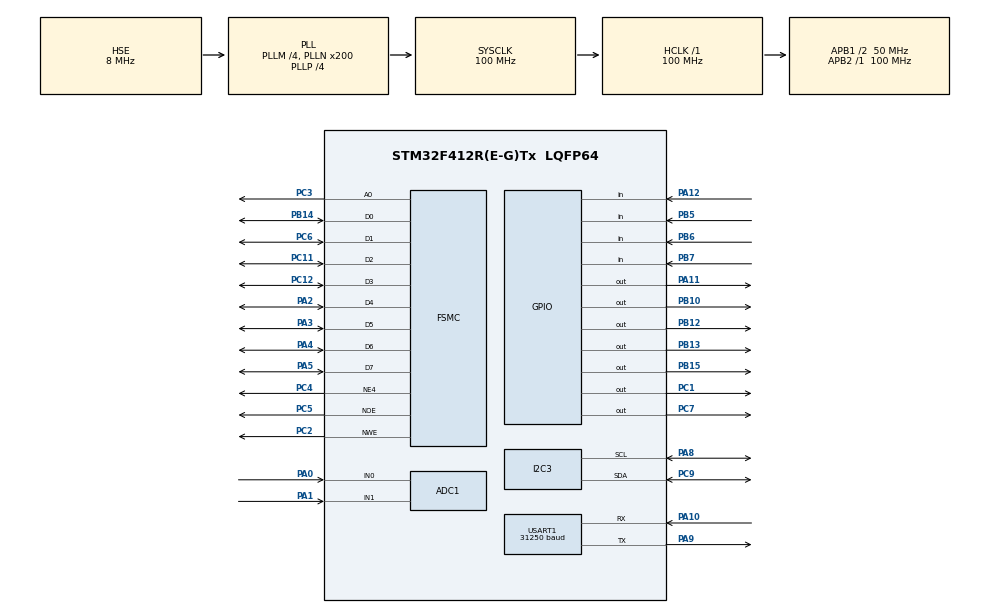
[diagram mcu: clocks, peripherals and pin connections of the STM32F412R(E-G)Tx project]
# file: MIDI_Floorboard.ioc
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Mcu.Family=STM32F4
PC3.Mode=A0_1
RCC.CortexFreq_Value=100000000
ADC1.ContinuousConvMode=ENABLE
USART1.BaudRate=31250
ADC1.SamplingTime-6\#ChannelRegularConversion=ADC_SAMPLETIME_3CYCLES
PC12.Signal=FSMC_D3
VP_IWDG_VS_IWDG.Mode=IWDG_Activate
PC5.Mode=Lcd1
PB13.Signal=GPIO_Output
PB15.Signal=GPIO_Output
RCC.SYSCLKSource=RCC_SYSCLKSOURCE_PLLCLK
ProjectManager.StackSize=0x400
PA12.Signal=GPIO_Input
PH0\ -\ OSC_IN.Signal=RCC_OSC_IN
ADC1.Channel-5\#ChannelRegularConversion=ADC_CHANNEL_0
PA4.Mode=8b-d1
RCC.HCLKFreq_Value=100000000
RCC.APB2TimFreq_Value=100000000
PB6.Signal=GPIO_Input
Dma.ADC1.0.Direction=DMA_PERIPH_TO_MEMORY
PC7.Signal=GPIO_Output
PC3.Signal=FSMC_A0
NVIC.DMA2_Stream0_IRQn=true\:0\:0\:false\:false\:true\:false\:true
Dma.ADC1.0.MemDataAlignment=DMA_MDATAALIGN_HALFWORD
RCC.AHBFreq_Value=100000000
RCC.HSE_VALUE=8000000
NVIC.I2C3_EV_IRQn=true\:0\:0\:false\:false\:true\:true\:true
ADC1.Channel-6\#ChannelRegularConversion=ADC_CHANNEL_1
PA14.Mode=Serial_Wire
PB14.Mode=8b-d1
Dma.ADC1.0.PeriphInc=DMA_PINC_DISABLE
PC9.Mode=I2C
PB7.Signal=GPIO_Input
PA8.Signal=I2C3_SCL
PA0.Signal=SharedAnalog_PA0
Mcu.Package=LQFP64
PA10.Signal=USART1_RX
PC11.Mode=8b-d1
RCC.APB1TimFreq_Value=100000000
Dma.ADC1.0.FIFOMode=DMA_FIFOMODE_DISABLE
PC5.Signal=FSMC_NOE
NVIC.USART1_IRQn=true\:0\:0\:false\:false\:true\:true\:true
ADC1.Rank-6\#ChannelRegularConversion=2
Dma.Request0=ADC1
ADC1.EOCSelection=ADC_EOC_SEQ_CONV
PC4.Mode=NorPsramChipSelect4_1
PA3.Signal=FSMC_D5
PA5.Mode=8b-d1
RCC.PLLSourceVirtual=RCC_PLLSOURCE_HSE
Dma.ADC1.0.Instance=DMA2_Stream0
TIM3.Channel-Output\ Compare1\ No\ Output=TIM_CHANNEL_1
PA10.Mode=Asynchronous
SH.SharedAnalog_PA0.0=GPIO_Analog
SH.SharedAnalog_PA0.1=ADC1_IN0,IN0
PC11.Signal=FSMC_D2
PH1\ -\ OSC_OUT.Mode=HSE-External-Oscillator
PC2.Signal=FSMC_NWE
PC4.Signal=FSMC_NE4
PC6.Signal=FSMC_D1
ADC1.DiscontinuousConvMode=DISABLE
PC2.Mode=Lcd1
RCC.APB1CLKDivider=RCC_HCLK_DIV2
PA13.Signal=SYS_JTMS-SWDIO
PA3.Mode=8b-d1
Dma.ADC1.0.PeriphDataAlignment=DMA_PDATAALIGN_HALFWORD
PA9.Mode=Asynchronous
PH0\ -\ OSC_IN.Mode=HSE-External-Oscillator
ProjectManager.TargetToolchain=Makefile
Dma.ADC1.0.Mode=DMA_CIRCULAR
PC6.Mode=8b-d1
Dma.ADC1.0.Priority=DMA_PRIORITY_LOW
PA9.Signal=USART1_TX
RCC.USBFreq_Value=200000000
PA1.Signal=SharedAnalog_PA1
PB10.Signal=GPIO_Output
PB14.Signal=FSMC_D0
PA5.Signal=FSMC_D7
PC12.Mode=8b-d1
PH1\ -\ OSC_OUT.Signal=RCC_OSC_OUT
board=custom
VP_TIM3_VS_no_output1.Mode=Output Compare1 No Output
RCC.VCOOutputFreq_Value=400000000
NVIC.TIM3_IRQn=true\:0\:0\:false\:false\:true\:true\:true
RCC.APB2Freq_Value=100000000
ADC1.DMAContinuousRequests=ENABLE
ADC1.NbrOfConversion=2
PA13.Mode=Serial_Wire
Mcu.Name=STM32F412R(E-G)Tx
PA2.Signal=FSMC_D4
PB3.Signal=SYS_JTDO-SWO
PA4.Signal=FSMC_D6
RCC.SYSCLKFreq_VALUE=100000000
PB5.Signal=GPIO_Input
ADC1.master=1
USART1.VirtualMode=VM_ASYNC
PA11.Signal=GPIO_Output
PA14.Signal=SYS_JTCK-SWCLK
Dma.ADC1.0.MemInc=DMA_MINC_ENABLE
ProjectManager.HeapSize=0x200
ADC1.SamplingTime-5\#ChannelRegularConversion=ADC_SAMPLETIME_3CYCLES
SH.SharedAnalog_PA1.1=ADC1_IN1,IN1
RCC.PLLP=RCC_PLLP_DIV4
NVIC.PriorityGroup=NVIC_PRIORITYGROUP_4
SH.SharedAnalog_PA1.0=GPIO_Analog
ADC1.NbrOfConversionFlag=1
RCC.PLLM=4
NVIC.I2C3_ER_IRQn=true\:0\:0\:false\:false\:true\:true\:true
RCC.PLLN=200
PA2.Mode=8b-d1
PA8.Mode=I2C
PC9.Signal=I2C3_SDA
RCC.APB1Freq_Value=50000000
ADC1.ClockPrescaler=ADC_CLOCK_SYNC_PCLK_DIV8
ADC1.Rank-5\#ChannelRegularConversion=1
PC1.Signal=GPIO_Output
PB12.Signal=GPIO_Output

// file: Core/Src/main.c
/* USER CODE BEGIN Header */
/**
  ******************************************************************************
  * @file           : main.c
  * @brief          : Main program body
  ******************************************************************************
  * @attention
  *
  * <h2><center>&copy; Copyright (c) 2021 STMicroelectronics.
  * All rights reserved.</center></h2>
  *
  * This software component is licensed by ST under BSD 3-Clause license,
  * the "License"; You may not use this file except in compliance with the
  * License. You may obtain a copy of the License at:
  *                        opensource.org/licenses/BSD-3-Clause
  *
  ******************************************************************************
  */
/* USER CODE END Header */
#include "main.h"
#include "ssd1309_fsmc.h"
#include "fonts.h"
#include <stdint.h>
#include <stdio.h>

/* USER CODE BEGIN PD */
#define UART_RX_BFR_SIZE 24
#define UART_TX_BFR_SIZE 16

#define UART_DMA_RX_BFR_SIZE 100

/* USER CODE END PD */

ADC_HandleTypeDef hadc1;
DMA_HandleTypeDef hdma_adc1;
DMA_HandleTypeDef hdma_usart1_rx;
DMA_HandleTypeDef hdma_usart1_tx;

I2C_HandleTypeDef hi2c3;

IWDG_HandleTypeDef hiwdg;

TIM_HandleTypeDef htim3;

UART_HandleTypeDef huart1;

SRAM_HandleTypeDef hsram1;

/* USER CODE BEGIN PV */
uint8_t receiveBuffer[32];
uint8_t transmitBuffer[32];
uint8_t midichannel;
volatile uint8_t tunerdata;

uint8_t RxRollover=0;
uint8_t RxCounter=0;
uint16_t RxBfrPos=0;
uint8_t TxCounter=0;
char TxBuffer[UART_TX_BFR_SIZE];
uint8_t RxBuffer[UART_RX_BFR_SIZE];
uint8_t DMA_RX_Buffer[UART_DMA_RX_BFR_SIZE];

/* USER CODE END PV */

void SystemClock_Config(void);
static void MX_GPIO_Init(void);
static void MX_DMA_Init(void);
static void MX_ADC1_Init(void);
static void MX_FSMC_Init(void);
static void MX_I2C3_Init(void);
static void MX_IWDG_Init(void);
static void MX_USART1_UART_Init(void);
static void MX_TIM3_Init(void);

/* USER CODE BEGIN 0 */

void HAL_UART_RxCpltCallback(UART_HandleTypeDef *huart);
//void HAL_UART_TxCpltCallback(UART_HandleTypeDef *huart);

/* USER CODE END 0 */

int main(void)
{
  /* USER CODE BEGIN 1 */
	uint16_t i;
	uint16_t j;
	uint8_t correct=0;
	uint8_t wrong=0;
	char c;
	uint8_t pitch;
  /* USER CODE END 1 */

  /* MCU Configuration--------------------------------------------------------*/

  /* Reset of all peripherals, Initializes the Flash interface and the Systick. */
  HAL_Init();

  /* Configure the system clock */
  SystemClock_Config();

  /* Initialize all configured peripherals */
  MX_GPIO_Init();
  MX_DMA_Init();
  MX_ADC1_Init();
  MX_FSMC_Init();
  MX_I2C3_Init();
 // MX_IWDG_Init();
  MX_USART1_UART_Init();
  MX_TIM3_Init();
  /* USER CODE BEGIN 2 */

  HAL_TIM_Base_Start_IT(&htim3);

  OLED_Init();
  tunerdata=0;
  __HAL_UART_ENABLE_IT(&huart1, UART_IT_IDLE);		// enable Uart Idle Line Interrupt
  __HAL_DMA_ENABLE_IT (&hdma_usart1_rx, DMA_IT_TC);  // enable DMA Tx cplt interrupt
  HAL_UART_Receive_DMA(&huart1, DMA_RX_Buffer, UART_DMA_RX_BFR_SIZE); // Start DMA Receive
  hdma_usart1_rx.Instance->CR &= ~DMA_SxCR_HTIE;     // disable uart half tx interrupt

  /* USER CODE END 2 */

  /* Infinite loop */
  /* USER CODE BEGIN WHILE */

  while (1)
  {
	  if(tunerdata==1)
	  {
		  i=0;
		  c=RxBuffer[i];
		  while((c!=0xF0) && (i<UART_RX_BFR_SIZE-12))
		  {
			  c=RxBuffer[i];
			  i++;
		  }
		  if(i>0)
			  i--;
		  if((RxBuffer[i]==0xF0)&&(RxBuffer[i+9]==0xF7))
		  {

			  ShowPitch(RxBuffer[i+7], 0, 80);

			  ShowFinePitch(RxBuffer[i+8]);

		  }
		  tunerdata=0;
	  }

	  if(i<65525)
	  {
		  i++;
	  }
	  else
	  {
		  if(j<255)
		  {

			  j++;
		  }
		  else
		  {

			  j=0;
		  }
		  i=0;
	  }
	  /* USER CODE END WHILE */

  }
}

void midisend(void)
{
	static uint8_t channel = 0;
	char string[5];
	int a,b,c,x;
	transmitBuffer[0]=0xC0;
	transmitBuffer[1]=channel;
	HAL_UART_Transmit_IT(&huart1, (uint8_t*)transmitBuffer, 2);						// send a response

	//HAL_UART_Transmit_IT(&huart1, transmitBuffer, 2,20);

	x=channel;
	a=x%10;
	x=x/10;
	b=x%10;
	x=x/10;
	c=x;
	string[4]=0;
	string[3]='\0';
	string[0]=c;
	string[1]=b;
	string[2]=a;

	Show_Numbers(3,&string,0,0);
	//Show_Font1523(1,1,1);

	if( channel <127)
	{
		channel++;//	Set_Display_On_Off(0xAF);		// Display On (0xAE/0xAF)
	}
	else
	{
		channel=0;
//		Set_Display_On_Off(0xAE);		// Display On (0xAE/0xAF)
	}

}

void SystemClock_Config(void)
{
  RCC_OscInitTypeDef RCC_OscInitStruct = {0};
  RCC_ClkInitTypeDef RCC_ClkInitStruct = {0};

  /** Configure the main internal regulator output voltage
  */
  __HAL_RCC_PWR_CLK_ENABLE();
  __HAL_PWR_VOLTAGESCALING_CONFIG(PWR_REGULATOR_VOLTAGE_SCALE1);
  /** Initializes the RCC Oscillators according to the specified parameters
  * in the RCC_OscInitTypeDef structure.
  */
  RCC_OscInitStruct.OscillatorType = RCC_OSCILLATORTYPE_LSI|RCC_OSCILLATORTYPE_HSE;
  RCC_OscInitStruct.HSEState = RCC_HSE_ON;
  RCC_OscInitStruct.LSIState = RCC_LSI_ON;
  RCC_OscInitStruct.PLL.PLLState = RCC_PLL_ON;
  RCC_OscInitStruct.PLL.PLLSource = RCC_PLLSOURCE_HSE;
  RCC_OscInitStruct.PLL.PLLM = 4;
  RCC_OscInitStruct.PLL.PLLN = 200;
  RCC_OscInitStruct.PLL.PLLP = RCC_PLLP_DIV4;
  RCC_OscInitStruct.PLL.PLLQ = 2;
  RCC_OscInitStruct.PLL.PLLR = 2;
  if (HAL_RCC_OscConfig(&RCC_OscInitStruct) != HAL_OK)
  {
    Error_Handler();
  }
  /** Initializes the CPU, AHB and APB buses clocks
  */
  RCC_ClkInitStruct.ClockType = RCC_CLOCKTYPE_HCLK|RCC_CLOCKTYPE_SYSCLK
                              |RCC_CLOCKTYPE_PCLK1|RCC_CLOCKTYPE_PCLK2;
  RCC_ClkInitStruct.SYSCLKSource = RCC_SYSCLKSOURCE_PLLCLK;
  RCC_ClkInitStruct.AHBCLKDivider = RCC_SYSCLK_DIV1;
  RCC_ClkInitStruct.APB1CLKDivider = RCC_HCLK_DIV2;
  RCC_ClkInitStruct.APB2CLKDivider = RCC_HCLK_DIV1;

  if (HAL_RCC_ClockConfig(&RCC_ClkInitStruct, FLASH_LATENCY_3) != HAL_OK)
  {
    Error_Handler();
  }
}

static void MX_ADC1_Init(void)
{

  ADC_ChannelConfTypeDef sConfig = {0};

  /** Configure the global features of the ADC (Clock, Resolution, Data Alignment and number of conversion)
  */
  hadc1.Instance = ADC1;
  hadc1.Init.ClockPrescaler = ADC_CLOCK_SYNC_PCLK_DIV8;
  hadc1.Init.Resolution = ADC_RESOLUTION_12B;
  hadc1.Init.ScanConvMode = ENABLE;
  hadc1.Init.ContinuousConvMode = ENABLE;
  hadc1.Init.DiscontinuousConvMode = DISABLE;
  hadc1.Init.ExternalTrigConvEdge = ADC_EXTERNALTRIGCONVEDGE_NONE;
  hadc1.Init.ExternalTrigConv = ADC_SOFTWARE_START;
  hadc1.Init.DataAlign = ADC_DATAALIGN_RIGHT;
  hadc1.Init.NbrOfConversion = 2;
  hadc1.Init.DMAContinuousRequests = ENABLE;
  hadc1.Init.EOCSelection = ADC_EOC_SEQ_CONV;
  if (HAL_ADC_Init(&hadc1) != HAL_OK)
  {
    Error_Handler();
  }
  /** Configure for the selected ADC regular channel its corresponding rank in the sequencer and its sample time.
  */
  sConfig.Channel = ADC_CHANNEL_0;
  sConfig.Rank = 1;
  sConfig.SamplingTime = ADC_SAMPLETIME_3CYCLES;
  if (HAL_ADC_ConfigChannel(&hadc1, &sConfig) != HAL_OK)
  {
    Error_Handler();
  }
  /** Configure for the selected ADC regular channel its corresponding rank in the sequencer and its sample time.
  */
  sConfig.Channel = ADC_CHANNEL_1;
  sConfig.Rank = 2;
  if (HAL_ADC_ConfigChannel(&hadc1, &sConfig) != HAL_OK)
  {
    Error_Handler();
  }

}

static void MX_I2C3_Init(void)
{

  hi2c3.Instance = I2C3;
  hi2c3.Init.ClockSpeed = 100000;
  hi2c3.Init.DutyCycle = I2C_DUTYCYCLE_2;
  hi2c3.Init.OwnAddress1 = 0;
  hi2c3.Init.AddressingMode = I2C_ADDRESSINGMODE_7BIT;
  hi2c3.Init.DualAddressMode = I2C_DUALADDRESS_DISABLE;
  hi2c3.Init.OwnAddress2 = 0;
  hi2c3.Init.GeneralCallMode = I2C_GENERALCALL_DISABLE;
  hi2c3.Init.NoStretchMode = I2C_NOSTRETCH_DISABLE;
  if (HAL_I2C_Init(&hi2c3) != HAL_OK)
  {
    Error_Handler();
  }

}

static void MX_IWDG_Init(void)
{

  hiwdg.Instance = IWDG;
  hiwdg.Init.Prescaler = IWDG_PRESCALER_4;
  hiwdg.Init.Reload = 4095;
  if (HAL_IWDG_Init(&hiwdg) != HAL_OK)
  {
    Error_Handler();
  }

}

static void MX_TIM3_Init(void)
{

  TIM_MasterConfigTypeDef sMasterConfig = {0};
  TIM_OC_InitTypeDef sConfigOC = {0};

  htim3.Instance = TIM3;
  htim3.Init.Prescaler = 3000;
  htim3.Init.CounterMode = TIM_COUNTERMODE_UP;
  htim3.Init.Period = 65535;
  htim3.Init.ClockDivision = TIM_CLOCKDIVISION_DIV1;
  htim3.Init.AutoReloadPreload = TIM_AUTORELOAD_PRELOAD_DISABLE;
  if (HAL_TIM_OC_Init(&htim3) != HAL_OK)
  {
    Error_Handler();
  }
  sMasterConfig.MasterOutputTrigger = TIM_TRGO_RESET;
  sMasterConfig.MasterSlaveMode = TIM_MASTERSLAVEMODE_DISABLE;
  if (HAL_TIMEx_MasterConfigSynchronization(&htim3, &sMasterConfig) != HAL_OK)
  {
    Error_Handler();
  }
  sConfigOC.OCMode = TIM_OCMODE_TIMING;
  sConfigOC.Pulse = 0;
  sConfigOC.OCPolarity = TIM_OCPOLARITY_HIGH;
  sConfigOC.OCFastMode = TIM_OCFAST_DISABLE;
  if (HAL_TIM_OC_ConfigChannel(&htim3, &sConfigOC, TIM_CHANNEL_1) != HAL_OK)
  {
    Error_Handler();
  }

}

static void MX_USART1_UART_Init(void)
{

  huart1.Instance = USART1;
  huart1.Init.BaudRate = 31250;
  huart1.Init.WordLength = UART_WORDLENGTH_8B;
  huart1.Init.StopBits = UART_STOPBITS_1;
  huart1.Init.Parity = UART_PARITY_NONE;
  huart1.Init.Mode = UART_MODE_TX_RX;
  huart1.Init.HwFlowCtl = UART_HWCONTROL_NONE;
  huart1.Init.OverSampling = UART_OVERSAMPLING_16;
  if (HAL_UART_Init(&huart1) != HAL_OK)
  {
    Error_Handler();
  }

}

static void MX_DMA_Init(void)
{

  /* DMA controller clock enable */
  __HAL_RCC_DMA2_CLK_ENABLE();

  /* DMA for the ADC */
  /* DMA interrupt init */
  /* DMA2_Stream0_IRQn interrupt configuration */
  HAL_NVIC_SetPriority(DMA2_Stream0_IRQn, 0, 0);
  HAL_NVIC_EnableIRQ(DMA2_Stream0_IRQn);

  /* DMAs for usart */
  /* DMA2_Stream2_IRQn interrupt configuration */
  HAL_NVIC_SetPriority(DMA2_Stream2_IRQn, 0, 0);
  HAL_NVIC_EnableIRQ(DMA2_Stream2_IRQn);

  /* DMA2_Stream7_IRQn interrupt configuration */
  HAL_NVIC_SetPriority(DMA2_Stream7_IRQn, 0, 0);
  HAL_NVIC_EnableIRQ(DMA2_Stream7_IRQn);

}

static void MX_GPIO_Init(void)
{
  GPIO_InitTypeDef GPIO_InitStruct = {0};

  /* GPIO Ports Clock Enable */
  __HAL_RCC_GPIOH_CLK_ENABLE();
  __HAL_RCC_GPIOC_CLK_ENABLE();
  __HAL_RCC_GPIOA_CLK_ENABLE();
  __HAL_RCC_GPIOB_CLK_ENABLE();

  /*Configure GPIO pin Output Level */
  HAL_GPIO_WritePin(GPIOC, GPIO_PIN_1|GPIO_PIN_7, GPIO_PIN_SET);

  /*Configure GPIO pin Output Level */
  HAL_GPIO_WritePin(GPIOB, GPIO_PIN_10|GPIO_PIN_12|GPIO_PIN_13|GPIO_PIN_15, GPIO_PIN_RESET);

  /*Configure GPIO pin Output Level */
  HAL_GPIO_WritePin(GPIOA, GPIO_PIN_11, GPIO_PIN_RESET);

  /*Configure GPIO pins : PC1 PC7 */
  GPIO_InitStruct.Pin = GPIO_PIN_1|GPIO_PIN_7;
  GPIO_InitStruct.Mode = GPIO_MODE_OUTPUT_PP;
  GPIO_InitStruct.Pull = GPIO_NOPULL;
  GPIO_InitStruct.Speed = GPIO_SPEED_FREQ_LOW;
  HAL_GPIO_Init(GPIOC, &GPIO_InitStruct);

  /*Configure GPIO pins : PB10 PB12 PB13 PB15 */
  GPIO_InitStruct.Pin = GPIO_PIN_10|GPIO_PIN_12|GPIO_PIN_13|GPIO_PIN_15;
  GPIO_InitStruct.Mode = GPIO_MODE_OUTPUT_PP;
  GPIO_InitStruct.Pull = GPIO_NOPULL;
  GPIO_InitStruct.Speed = GPIO_SPEED_FREQ_LOW;
  HAL_GPIO_Init(GPIOB, &GPIO_InitStruct);

  /*Configure GPIO pin : PA11 */
  GPIO_InitStruct.Pin = GPIO_PIN_11;
  GPIO_InitStruct.Mode = GPIO_MODE_OUTPUT_PP;
  GPIO_InitStruct.Pull = GPIO_NOPULL;
  GPIO_InitStruct.Speed = GPIO_SPEED_FREQ_LOW;
  HAL_GPIO_Init(GPIOA, &GPIO_InitStruct);

  /*Configure GPIO pin : PA12 */
  GPIO_InitStruct.Pin = GPIO_PIN_12;
  GPIO_InitStruct.Mode = GPIO_MODE_INPUT;
  GPIO_InitStruct.Pull = GPIO_NOPULL;
  HAL_GPIO_Init(GPIOA, &GPIO_InitStruct);

  /*Configure GPIO pins : PB5 PB6 PB7 */
  GPIO_InitStruct.Pin = GPIO_PIN_5|GPIO_PIN_6|GPIO_PIN_7;
  GPIO_InitStruct.Mode = GPIO_MODE_INPUT;
  GPIO_InitStruct.Pull = GPIO_NOPULL;
  HAL_GPIO_Init(GPIOB, &GPIO_InitStruct);

}

/* FSMC initialization function */
static void MX_FSMC_Init(void)
{

  FSMC_NORSRAM_TimingTypeDef Timing = {0};

  /** Perform the SRAM1 memory initialization sequence
  */
  hsram1.Instance = FSMC_NORSRAM_DEVICE;
  hsram1.Extended = FSMC_NORSRAM_EXTENDED_DEVICE;
  /* hsram1.Init */
  hsram1.Init.NSBank = FSMC_NORSRAM_BANK4;
  hsram1.Init.DataAddressMux = FSMC_DATA_ADDRESS_MUX_DISABLE;
  hsram1.Init.MemoryType = FSMC_MEMORY_TYPE_SRAM;
  hsram1.Init.MemoryDataWidth = FSMC_NORSRAM_MEM_BUS_WIDTH_8;
  hsram1.Init.BurstAccessMode = FSMC_BURST_ACCESS_MODE_DISABLE;
  hsram1.Init.WaitSignalPolarity = FSMC_WAIT_SIGNAL_POLARITY_LOW;
  hsram1.Init.WaitSignalActive = FSMC_WAIT_TIMING_BEFORE_WS;
  hsram1.Init.WriteOperation = FSMC_WRITE_OPERATION_ENABLE;
  hsram1.Init.WaitSignal = FSMC_WAIT_SIGNAL_DISABLE;
  hsram1.Init.ExtendedMode = FSMC_EXTENDED_MODE_DISABLE;
  hsram1.Init.AsynchronousWait = FSMC_ASYNCHRONOUS_WAIT_DISABLE;
  hsram1.Init.WriteBurst = FSMC_WRITE_BURST_DISABLE;
  hsram1.Init.ContinuousClock = FSMC_CONTINUOUS_CLOCK_SYNC_ONLY;
  hsram1.Init.WriteFifo = FSMC_WRITE_FIFO_ENABLE;
  hsram1.Init.PageSize = FSMC_PAGE_SIZE_NONE;
  /* Timing */

  Timing.AddressSetupTime = 10;
  Timing.AddressHoldTime = 4;
  Timing.DataSetupTime = 20;
  Timing.BusTurnAroundDuration = 15;
  Timing.CLKDivision = 10;
  Timing.DataLatency = 17;
  Timing.AccessMode = FSMC_ACCESS_MODE_A;
  /*
  Timing.AddressSetupTime = 1;
  Timing.AddressHoldTime = 0;
  Timing.DataSetupTime = 9;
  Timing.BusTurnAroundDuration = 0;
  Timing.CLKDivision = 0;
  Timing.DataLatency = 0 ;
  Timing.AccessMode = FSMC_ACCESS_MODE_A;
  */
  /* ExtTiming */

  if (HAL_SRAM_Init(&hsram1, &Timing, NULL) != HAL_OK)
  {
    Error_Handler( );
  }

}

/* USER CODE BEGIN 4 */
/*
void HAL_UART_RxCpltCallback(UART_HandleTypeDef *huart)
{
	// UART Rx Complete Callback;
	// Rx Complete is called by: DMA (automatically), if it rolls over
	// and when an IDLE Interrupt occurs
	// DMA Interrupt allays occurs BEFORE the idle interrupt can be fired because
	// idle detection needs at least one UART clock to detect the bus is idle. So
	// in the case, that the transmission length is one full buffer length
	// and the start buffer pointer is at 0, it will be also 0 at the end of the
	// transmission. In this case the DMA rollover will increment the RxRollover
	// variable first and len will not be zero.
	uint8_t i;
	if(__HAL_UART_GET_FLAG(huart, UART_FLAG_IDLE))
	{																					// Check if it is an "Idle Interrupt"
		__HAL_UART_CLEAR_IDLEFLAG(&huart1);												// clear the interrupt
		RxBfrPos = RX_BFR_SIZE - (uint16_t)huart->hdmarx->Instance->NDTR; // determine actual buffer position
		if(RxBuffer[RxBfrPos]==0xF7)									  // Check wether we are at the end of a Sysex Message
			if(RxBfrPos)
		for(i=0;i<10;i++)
		{
			if(RxBuffer[i]==0xF0)
			{
				sprintf(TxBuffer, "%02X %02X %02X %02X %02X %02X %02X", RxBuffer[i],RxBuffer[i+6],RxBuffer[i+8],RxBuffer[i+9],RxBuffer[i+10],RxBuffer[i+11],RxBuffer[i+12]);
				Show_String(1, TxBuffer, 5, 0);
				//huart->hdmarx->Instance->NDTR=0;
				i=10;
			}
		}

		if(RxBuffer[0]==0xF0)
		{
			RxBfrPos = RX_BFR_SIZE - (uint16_t)huart->hdmarx->Instance->NDTR; // determine actual buffer position
			sprintf(TxBuffer, "ACK %d 0", RxBfrPos);
			Show_String(1, TxBuffer, 6, 0);
			//huart->hdmarx->Instance->NDTR=0;
		}

	}
}
*/
void HAL_UART_TxCpltCallback(UART_HandleTypeDef *huart) {
	// UART Tx Complete Callback;
	TxCounter++;
}

#define UART_RX_BFR_SIZE 24
#define UART_DMA_RX_BFR_SIZE 100
void DMA_Usart_RXStart(void)
{
	HAL_UART_Receive_DMA(&huart1, DMA_RX_Buffer, UART_DMA_RX_BFR_SIZE); // Start DMA Receive
	hdma_usart1_rx.Instance->CR &= ~DMA_SxCR_HTIE;     // disable uart half tx interrupt
}
void DMA_IrqHandler (DMA_HandleTypeDef *hdma)
{
	typedef struct
	{
		__IO uint32_t ISR;   /*!< DMA interrupt status register */
		__IO uint32_t Reserved0;
		__IO uint32_t IFCR;  /*!< DMA interrupt flag clear register */
	} DMA_Base_Registers;
	size_t Write;
	size_t len, tocopy;
	uint8_t* ptr;

	DMA_Base_Registers *regs = (DMA_Base_Registers *)hdma->StreamBaseAddress;

	if(__HAL_DMA_GET_IT_SOURCE(hdma, DMA_IT_TC) != RESET)   // if the source is TC
	{
		/* Clear the transfer complete flag */
		regs->IFCR = DMA_FLAG_TCIF1_5 << hdma->StreamIndex;
		if(tunerdata==0)
		{
			/* Get the length of the data */
			len = UART_DMA_RX_BFR_SIZE - hdma->Instance->NDTR;

			/* Get number of bytes we can copy to the end of buffer */
			tocopy = UART_RX_BFR_SIZE - Write;

			/* Check how many bytes to copy */
			if (tocopy > len)
			{
				tocopy = len;
			}

			/* Write received data for UART main buffer for manipulation later */
			ptr = DMA_RX_Buffer;
			memcpy(&RxBuffer[Write], ptr, tocopy);   /* Copy first part */

			tunerdata=1;
		}
	}
	/* Prepare DMA for next transfer */
	/* Important! DMA stream won't start if all flags are not cleared first */

	// regs->IFCR = 0x3FU << hdma->StreamIndex; 				// clear all interrupts
	// hdma->Instance->M0AR = (uint32_t)DMA_RX_Buffer; /* Set memory address for DMA again */
	// hdma->Instance->NDTR = UART_DMA_RX_BFR_SIZE;    			/* Set number of bytes to receive */

	//hdma->Instance->CR |= DMA_SxCR_EN;            			/* Start DMA transfer */

}

/* USER CODE END 4 */

void Error_Handler(void)
{
}

/************************ (C) COPYRIGHT STMicroelectronics *****END OF FILE****/
